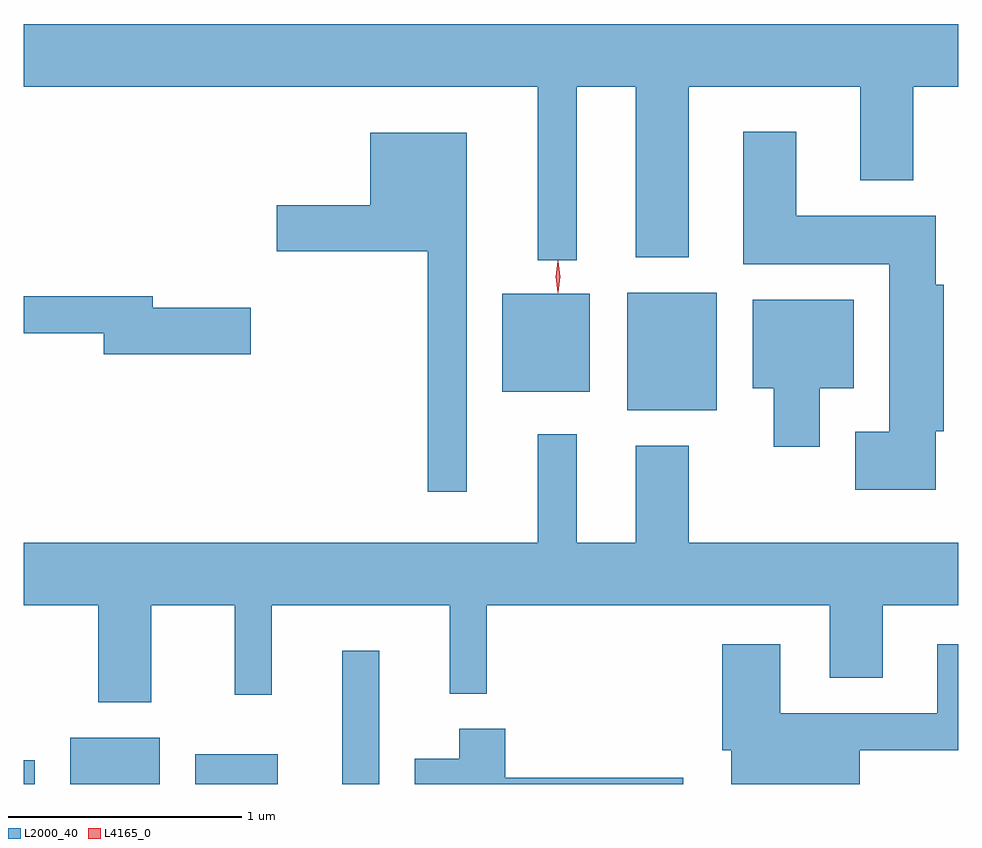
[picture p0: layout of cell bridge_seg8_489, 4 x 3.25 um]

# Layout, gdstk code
import gdstk
lib = gdstk.Library(unit=1e-6, precision=1e-09)
def R(c, l, rs):  # rectangles x0, y0, x1, y1
    for r in rs: c.add(gdstk.rectangle(r[:2], r[2:], *l))
def P(c, l, *ps):  # polygons
    for p in ps: c.add(gdstk.Polygon(p, *l))
L2000_40 = (2000, 40)
L4165_0 = (4165, 0)

bridge_seg8_489 = lib.new_cell('bridge_seg8_489')
R(bridge_seg8_489, L2000_40, [(378.462,1893.372,378.509,1893.474), (378.661,1893.372,379.044,1893.569), (379.196,1893.372,379.549,1893.499), (379.826,1893.372,379.984,1893.943), (381.046,1894.971,381.429,1895.474), (380.511,1895.051,380.884,1895.469)])
P(bridge_seg8_489, L2000_40, [(380.829,1896.356),(381.081,1896.356),(381.081,1895.626),(381.309,1895.626),(381.309,1896.356),(382.041,1896.356),(382.041,1895.956),(382.269,1895.956),(382.269,1896.356),(382.462,1896.356),(382.462,1896.624),(378.462,1896.624),(378.462,1896.356),(380.661,1896.356),(380.661,1895.613),(380.829,1895.613)],
  [(382.364,1894.881),(382.399,1894.881),(382.399,1895.509),(382.364,1895.509),(382.364,1895.804),(381.769,1895.804),(381.769,1896.164),(381.541,1896.164),(381.541,1895.596),(382.166,1895.596),(382.166,1894.879),(382.021,1894.879),(382.021,1894.631),(382.364,1894.631)],
  [(380.359,1896.159),(379.946,1896.159),(379.946,1895.849),(379.546,1895.849),(379.546,1895.651),(380.191,1895.651),(380.191,1894.623),(380.359,1894.623)],
  [(379.434,1895.409),(379.014,1895.409),(379.014,1895.459),(378.462,1895.459),(378.462,1895.301),(378.806,1895.301),(378.806,1895.211),(379.434,1895.211)],
  [(381.869,1895.066),(382.014,1895.066),(382.014,1895.444),(381.581,1895.444),(381.581,1895.066),(381.671,1895.066),(381.671,1894.816),(381.869,1894.816)],
  [(379.009,1894.136),(379.366,1894.136),(379.366,1893.753),(379.524,1893.753),(379.524,1894.136),(380.286,1894.136),(380.286,1893.758),(380.444,1893.758),(380.444,1894.136),(381.911,1894.136),(381.911,1893.826),(382.139,1893.826),(382.139,1894.136),(382.462,1894.136),(382.462,1894.404),(381.309,1894.404),(381.309,1894.819),(381.081,1894.819),(381.081,1894.404),(380.829,1894.404),(380.829,1894.868),(380.661,1894.868),(380.661,1894.404),(378.462,1894.404),(378.462,1894.136),(378.781,1894.136),(378.781,1893.721),(379.009,1893.721)],
  [(382.039,1893.516),(382.462,1893.516),(382.462,1893.969),(382.371,1893.969),(382.371,1893.674),(381.699,1893.674),(381.699,1893.969),(381.451,1893.969),(381.451,1893.516),(381.491,1893.516),(381.491,1893.372),(382.039,1893.372)],
  [(381.284,1893.399),(380.524,1893.399),(380.524,1893.609),(380.326,1893.609),(380.326,1893.479),(380.136,1893.479),(380.136,1893.372),(381.284,1893.372)])
P(bridge_seg8_489, L4165_0, [(380.748,1895.474),(380.739,1895.542),(380.748,1895.61),(380.749,1895.61),(380.749,1895.61),(380.759,1895.542),(380.749,1895.474),(380.749,1895.474)],
  [(380.75,1895.478),(380.749,1895.479),(380.74,1895.543),(380.748,1895.607),(380.749,1895.607),(380.749,1895.607),(380.759,1895.543),(380.75,1895.479)])

lib.write_gds('bridge_seg8_489.gds')
